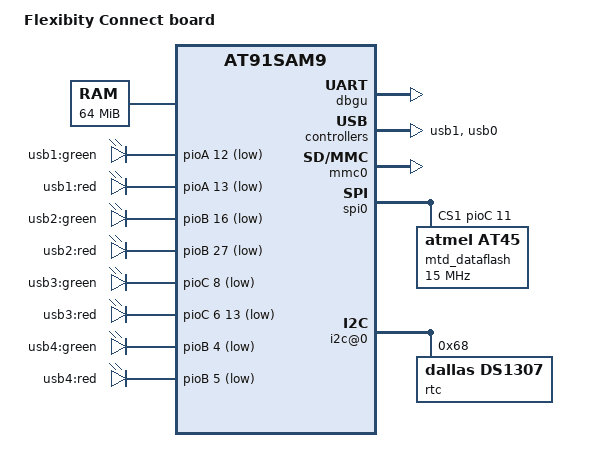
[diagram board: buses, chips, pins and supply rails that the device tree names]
/*
 * at91-flexibity.dts - Device Tree file for Flexibity Connect board
 *
 * Copyright (C) 2013 Jean-Christophe PLAGNIOL-VILLARD <plagnioj@jcrosoft.com>
 *
 * Licensed under GPLv2 only
 */
/dts-v1/;
#include "at91sam9260.dtsi"

/ {
	model = "Flexibity Connect board";
	compatible = "flexibity,connect", "atmel,at91sam9260", "atmel,at91sam9";

	memory {
		reg = <0x20000000 0x4000000>;
	};

	clocks {
		#address-cells = <1>;
		#size-cells = <1>;
		ranges;

		main_clock: clock@0 {
			compatible = "atmel,osc", "fixed-clock";
			clock-frequency = <18432000>;
		};
	};

	ahb {
		apb {
			dbgu: serial@fffff200 {
				status = "okay";
			};

			usb1: gadget@fffa4000 {
				atmel,vbus-gpio = <&pioC 5 GPIO_ACTIVE_HIGH>;
				status = "okay";
			};

			mmc0: mmc@fffa8000 {
				pinctrl-0 = <
					&pinctrl_board_mmc0
					&pinctrl_mmc0_clk
					&pinctrl_mmc0_slot0_cmd_dat0
					&pinctrl_mmc0_slot0_dat1_3>;
				status = "okay";
				slot@0 {
					reg = <0>;
					bus-width = <4>;
					cd-gpios = <&pioB 9 GPIO_ACTIVE_HIGH>;
					wp-gpios = <&pioC 4 GPIO_ACTIVE_HIGH>;
				};
			};

			pinctrl@fffff400 {
				mmc0 {
					pinctrl_board_mmc0: mmc0-board {
						atmel,pins =
							<AT91_PIOB 9 AT91_PERIPH_GPIO AT91_PINCTRL_PULL_UP_DEGLITCH
							 AT91_PIOC 4 AT91_PERIPH_GPIO AT91_PINCTRL_PULL_UP>;
					};
				};
			};

			spi0: spi@fffc8000 {
				status = "okay";
				cs-gpios = <0>,
					   <&pioC 11 GPIO_ACTIVE_HIGH>;
				mtd_dataflash@1 {
					compatible = "atmel,at45", "atmel,dataflash";
					spi-max-frequency = <15000000>;
					reg = <1>;
				};
			};
		};

		usb0: ohci@00500000 {
			num-ports = <2>;
			status = "okay";
		};
	};

	leds {
		compatible = "gpio-leds";

		usb1_green {
			label = "usb1:green";
			gpios = <&pioA 12 GPIO_ACTIVE_LOW>;
			default-state = "on";
		};

		usb1_red {
			label = "usb1:red";
			gpios = <&pioA 13 GPIO_ACTIVE_LOW>;
			default-state = "on";
		};

		usb2_green {
			label = "usb2:green";
			gpios = <&pioB 16 GPIO_ACTIVE_LOW>;
			default-state = "on";
		};

		usb2_red {
			label = "usb2:red";
			gpios = <&pioB 27 GPIO_ACTIVE_LOW>;
			default-state = "on";
		};

		usb3_green {
			label = "usb3:green";
			gpios = <&pioC 8 GPIO_ACTIVE_LOW>;
			default-state = "on";
		};

		usb3_red {
			label = "usb3:red";
			gpios = <&pioC 6 13 GPIO_ACTIVE_LOW>;
			default-state = "on";
		};

		usb4_green {
			label = "usb4:green";
			gpios = <&pioB 4 GPIO_ACTIVE_LOW>;
			default-state = "on";
		};

		usb4_red {
			label = "usb4:red";
			gpios = <&pioB 5 GPIO_ACTIVE_LOW>;
			default-state = "on";
		};
	};

	i2c@0 {
		status = "okay";

		rtc@68 {
			compatible = "dallas,ds1307";
			reg = <0x68>;
		};
	};
};
